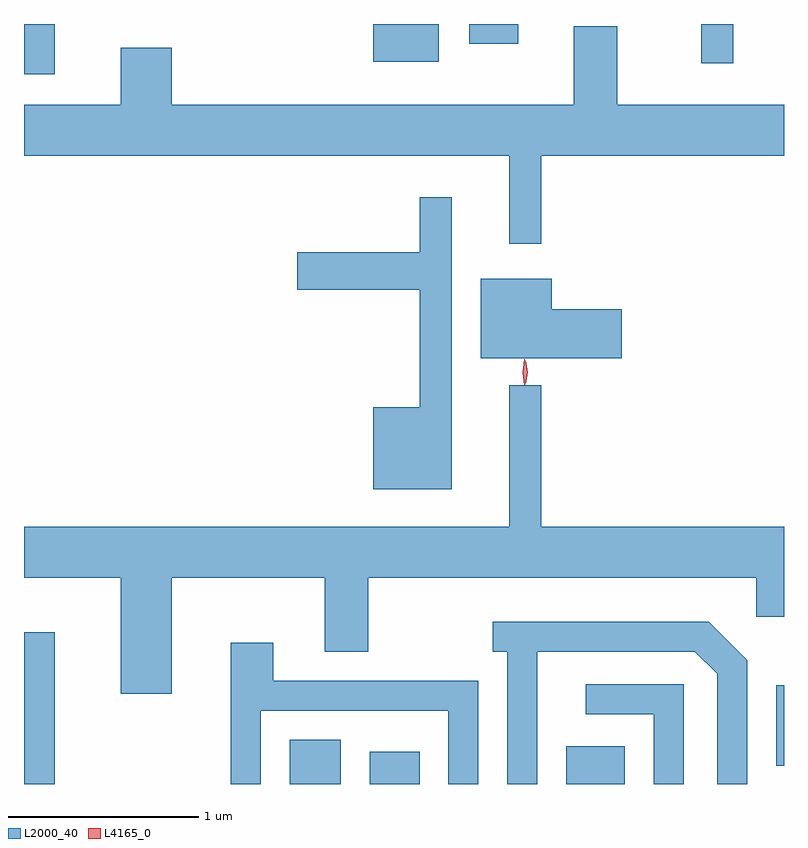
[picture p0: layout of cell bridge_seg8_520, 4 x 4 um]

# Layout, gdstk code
import gdstk
lib = gdstk.Library(unit=1e-6, precision=1e-09)
def R(c, l, rs):  # rectangles x0, y0, x1, y1
    for r in rs: c.add(gdstk.rectangle(r[:2], r[2:], *l))
def P(c, l, *ps):  # polygons
    for p in ps: c.add(gdstk.Polygon(p, *l))
L2000_40 = (2000, 40)
L4165_0 = (4165, 0)

bridge_seg8_520 = lib.new_cell('bridge_seg8_520')
R(bridge_seg8_520, L2000_40, [(254.527,1837.55,254.689,1838.349), (255.926,1837.55,256.194,1837.784), (256.346,1837.55,256.609,1837.719), (257.381,1837.55,257.689,1837.749), (258.486,1837.646,258.527,1838.069), (254.527,1841.286,254.689,1841.55), (258.091,1841.343,258.259,1841.55), (256.366,1841.351,256.709,1841.55), (256.871,1841.446,257.129,1841.55)])
P(bridge_seg8_520, L2000_40, [(257.249,1840.856),(258.527,1840.856),(258.527,1841.124),(257.649,1841.124),(257.649,1841.539),(257.421,1841.539),(257.421,1841.124),(255.304,1841.124),(255.304,1841.424),(255.036,1841.424),(255.036,1841.124),(254.527,1841.124),(254.527,1840.856),(257.081,1840.856),(257.081,1840.393),(257.249,1840.393)],
  [(256.779,1840.638),(256.611,1840.638),(256.611,1840.349),(255.966,1840.349),(255.966,1840.151),(256.611,1840.151),(256.611,1839.534),(256.366,1839.534),(256.366,1839.101),(256.779,1839.101)],
  [(257.674,1840.049),(257.304,1840.049),(257.304,1840.209),(256.931,1840.209),(256.931,1839.791),(257.674,1839.791)],
  [(255.304,1838.636),(256.111,1838.636),(256.111,1838.246),(256.339,1838.246),(256.339,1838.636),(258.381,1838.636),(258.381,1838.431),(258.527,1838.431),(258.527,1838.904),(257.249,1838.904),(257.249,1839.648),(257.081,1839.648),(257.081,1838.904),(254.527,1838.904),(254.527,1838.636),(255.036,1838.636),(255.036,1838.026),(255.304,1838.026)],
  [(257.229,1838.246),(258.058,1838.246),(258.176,1838.129),(258.176,1837.55),(258.334,1837.55),(258.334,1838.202),(258.132,1838.404),(256.993,1838.404),(256.993,1838.246),(257.071,1838.246),(257.071,1837.55),(257.229,1837.55)],
  [(255.774,1837.936),(256.761,1837.936),(256.761,1837.55),(256.919,1837.55),(256.919,1838.094),(255.839,1838.094),(255.839,1838.294),(255.616,1838.294),(255.616,1837.55),(255.774,1837.55)],
  [(257.999,1838.074),(257.483,1838.074),(257.483,1837.916),(257.841,1837.916),(257.841,1837.55),(257.999,1837.55)])
P(bridge_seg8_520, L4165_0, [(257.167,1839.653),(257.167,1839.654),(257.157,1839.716),(257.167,1839.78),(257.167,1839.78),(257.168,1839.78),(257.177,1839.716),(257.168,1839.654)],
  [(257.161,1839.65),(257.151,1839.718),(257.161,1839.785),(257.161,1839.786),(257.162,1839.785),(257.171,1839.718),(257.162,1839.65),(257.162,1839.65)])

lib.write_gds('bridge_seg8_520.gds')
